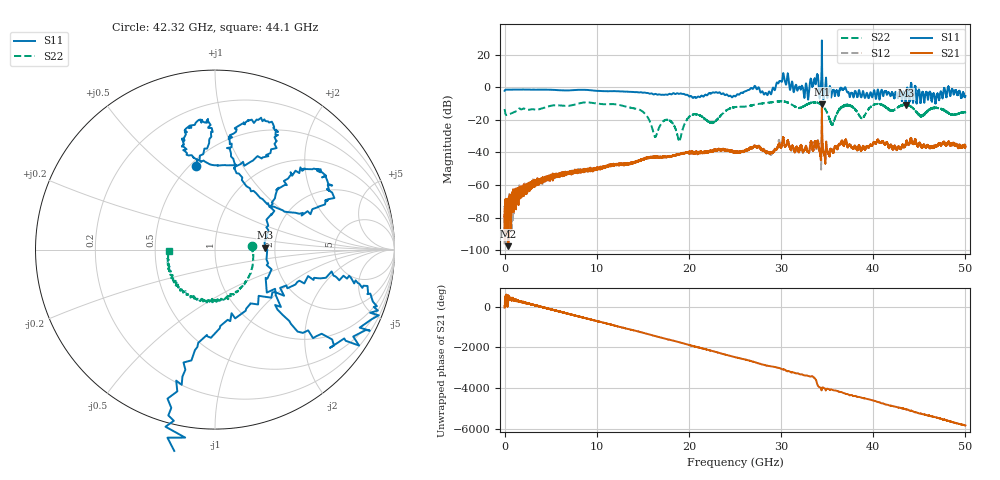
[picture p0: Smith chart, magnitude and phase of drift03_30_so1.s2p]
!Created with skrf (http://scikit-rf.org).
# Hz S RI R 50.0
!freq ReS11 ImS11 ReS21 ImS21 ReS12 ImS12 ReS22 ImS22
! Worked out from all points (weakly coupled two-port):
!   10000 points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, 5.3 MHz to 50 GHz, reference 50 ohm
!   highest |S21| = -10.32 dB at 34.43 GHz (marker M1); lowest = -97.6 dB at 415.3 MHz (marker M2)
!   lowest |S11| = -11.1 dB at 43.52 GHz (marker M3), VSWR 1.77, Z = 88.5 + j2.02 ohm
!   |S11| at or under -10 dB: 43.49339 GHz to 43.49967 GHz (6.28 MHz wide, 0.0144 % of centre); 43.50019 GHz to 43.54244 GHz (42.24 MHz wide, 0.0971 % of centre); 46.74998 GHz to 46.75005 GHz (69.51 kHz wide, 0.000149 % of centre)
!   |S22| runs from -33.0 to -8.4 dB; largest |S21 - S12| = 0.098
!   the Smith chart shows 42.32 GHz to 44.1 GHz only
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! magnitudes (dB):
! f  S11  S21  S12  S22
! 5.3 MHz  -2.1  -79.4  -73.6  -13.3
! 415.3 MHz  -1.4  -97.6  -68.7  -16.7
! 3.015 GHz  -1.4  -59.1  -58.7  -13.4
! 8.34 GHz  -1.5  -52.0  -51.1  -9.5
! 14.53 GHz  -3.1  -45.0  -45.5  -13.5
! 16.67 GHz  -4.4  -43.0  -42.7  -26.0
! 17.8 GHz  -4.2  -42.3  -42.2  -20.0
! 18.98 GHz  -3.9  -41.0  -41.1  -33.0
! 20.28 GHz  -5.5  -40.3  -39.5  -17.1
! 22.58 GHz  -3.1  -39.0  -39.1  -21.7
! 25.01 GHz  -5.5  -39.1  -39.9  -12.1
! 28.72 GHz  -2.5  -40.7  -40.5  -9.4
! 30.14 GHz  4.4  -33.8  -33.9  -8.5
! 32.74 GHz  2.0  -36.9  -36.4  -10.5
! 33.34 GHz  2.6  -34.6  -35.1  -9.4
! 34.43 GHz  28.8  -10.3  -12.6  -10.9
! 35.54 GHz  -3.1  -38.8  -39.1  -22.8
! 36.97 GHz  0.0  -32.9  -32.8  -10.8
! 38.76 GHz  -5.4  -38.0  -38.1  -19.0
! 41.67 GHz  -3.0  -36.6  -37.0  -13.7
! 43.52 GHz  -11.1  -34.7  -35.0  -10.7
! 50 GHz  -5.2  -35.8  -36.2  -15.5
